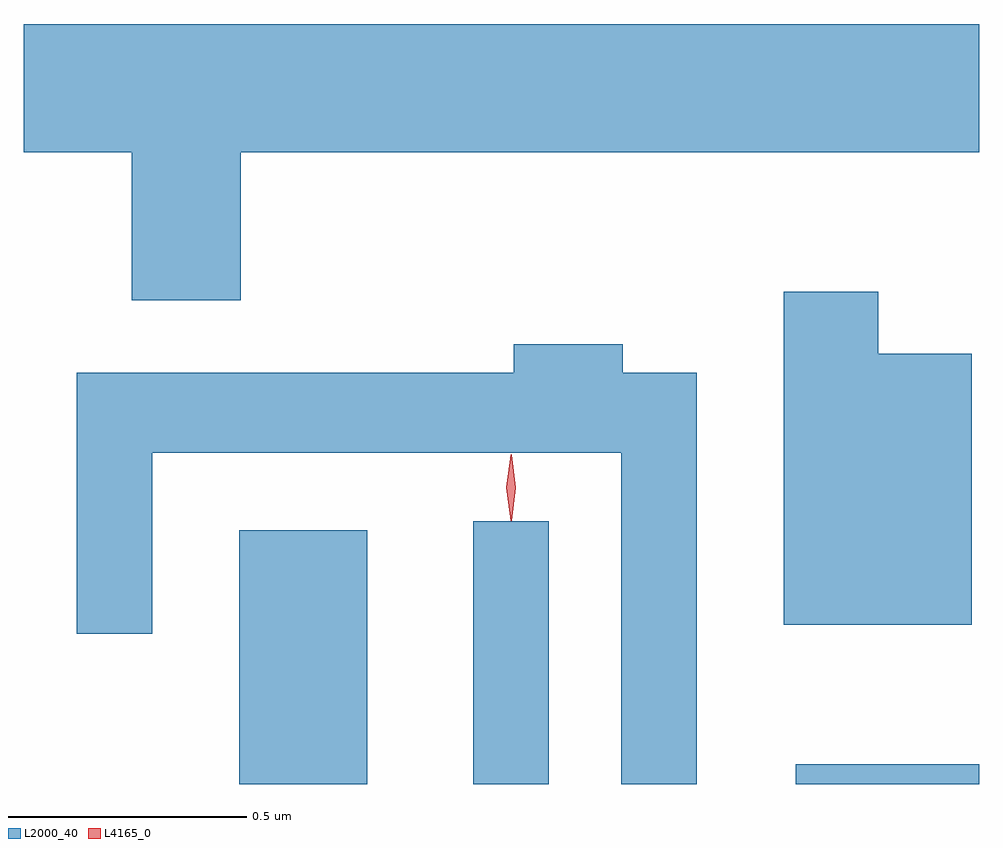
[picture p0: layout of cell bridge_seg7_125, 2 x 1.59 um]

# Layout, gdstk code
import gdstk
lib = gdstk.Library(unit=1e-6, precision=1e-09)
def R(c, l, rs):  # rectangles x0, y0, x1, y1
    for r in rs: c.add(gdstk.rectangle(r[:2], r[2:], *l))
def P(c, l, *ps):  # polygons
    for p in ps: c.add(gdstk.Polygon(p, *l))
L2000_40 = (2000, 40)
L4165_0 = (4165, 0)

bridge_seg7_125 = lib.new_cell('bridge_seg7_125')
R(bridge_seg7_125, L2000_40, [(1525.066,1804.013,1525.334,1804.544), (1525.556,1804.013,1525.714,1804.563), (1526.231,1804.013,1526.615,1804.054)])
P(bridge_seg7_125, L2000_40, [(1525.069,1805.336),(1526.615,1805.336),(1526.615,1805.604),(1524.615,1805.604),(1524.615,1805.336),(1524.841,1805.336),(1524.841,1805.026),(1525.069,1805.026)],
  [(1526.599,1804.914),(1526.404,1804.914),(1526.404,1805.044),(1526.206,1805.044),(1526.206,1804.346),(1526.599,1804.346)],
  [(1526.024,1804.874),(1525.869,1804.874),(1525.869,1804.934),(1525.641,1804.934),(1525.641,1804.874),(1524.726,1804.874),(1524.726,1804.328),(1524.884,1804.328),(1524.884,1804.706),(1525.866,1804.706),(1525.866,1804.013),(1526.024,1804.013)])
P(bridge_seg7_125, L4165_0, [(1525.635,1804.563),(1525.634,1804.564),(1525.625,1804.633),(1525.634,1804.702),(1525.635,1804.703),(1525.636,1804.702),(1525.645,1804.633),(1525.636,1804.564)],
  [(1525.634,1804.567),(1525.625,1804.634),(1525.634,1804.7),(1525.635,1804.7),(1525.636,1804.7),(1525.645,1804.634),(1525.636,1804.567),(1525.635,1804.567)])

lib.write_gds('bridge_seg7_125.gds')
